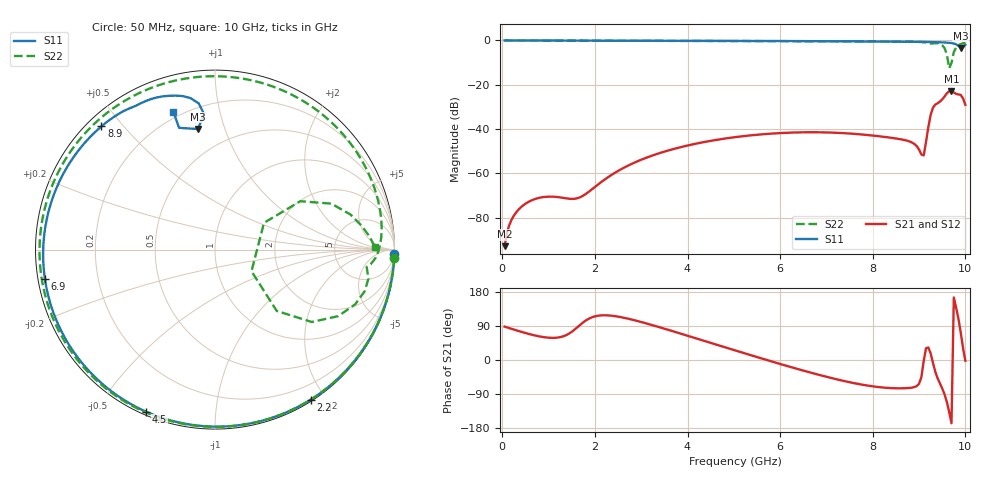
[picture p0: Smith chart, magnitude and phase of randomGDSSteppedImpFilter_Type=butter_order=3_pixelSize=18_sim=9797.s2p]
! freq	dB(S11)	phase(S11)	dB(S12)	phase(S12)
!  dB(S21)	phase(S21)	dB(S22)	phase(S22)
!S-par simulation data
#  GHz  S  DB  R 50
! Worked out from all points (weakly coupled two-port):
!   200 points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, 50 MHz to 10 GHz, reference 50 ohm
!   highest |S21| = -22.83 dB at 9.7 GHz (marker M1); lowest = -92.8 dB at 50 MHz (marker M2)
!   lowest |S11| = -3.4 dB at 9.9 GHz (marker M3), VSWR 5.22, Z = 16.3 + j40.6 ohm
!   |S11| at or under -10 dB: nowhere
!   |S22| runs from -12.5 to 0.0 dB; largest |S21 - S12| = 0
!   S11 on the Smith chart (normalised r, x): 50 MHz: 0, -85; 2.2 GHz: 0.02, -1.82; 4.5 GHz: 0.01, -0.66; 6.9 GHz: 0.02, -0.09; 8.9 GHz: 0.04, +0.44; 10 GHz: 0.17, +0.73
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0.05  -0.00 -1.4  -92.78 88.0  -92.78 88.0  -0.00 -2.7
0.75  -0.03 -20.0  -71.24 63.5  -71.24 63.5  -0.05 -38.8
1.75  -0.06 -46.1  -69.95 99.6  -69.95 99.6  -0.10 -86.4
2.2  -0.07 -57.5  -62.88 118.0  -62.88 118.0  -0.12 -105.9
3.4  -0.11 -87.0  -50.78 86.3  -50.78 86.3  -0.17 -152.8
4.5  -0.16 -113.0  -45.28 45.2  -45.28 45.2  -0.21 168.1
5.05  -0.19 -125.8  -43.55 24.5  -43.55 24.5  -0.23 149.0
5.9  -0.25 -145.7  -41.89 -6.9  -41.89 -6.9  -0.27 119.3
6.7  -0.32 -165.1  -41.40 -34.7  -41.40 -34.7  -0.30 90.9
6.9  -0.34 -170.1  -41.44 -41.2  -41.44 -41.2  -0.31 83.7
8.35  -0.51 150.2  -43.76 -73.9  -43.76 -73.9  -0.38 30.7
8.9  -0.60 132.7  -46.72 -71.4  -46.72 -71.4  -0.55 8.8
9.1  -0.65 125.7  -51.85 -2.5  -51.85 -2.5  -0.82 -0.6
9.25  -0.75 120.3  -33.61 17.4  -33.61 17.4  -1.40 -6.5
9.3  -0.78 118.7  -30.28 -7.7  -30.28 -7.7  -1.36 -7.6
9.45  -0.81 113.0  -27.60 -62.0  -27.60 -62.0  -1.54 -21.4
9.55  -0.90 108.8  -25.27 -90.8  -25.27 -90.8  -3.43 -36.8
9.65  -1.05 104.4  -22.87 -137.3  -22.87 -137.3  -12.52 -30.7
9.7  -1.17 101.9  -22.83 -166.9  -22.83 -166.9  -10.14 28.6
9.75  -1.36 99.2  -23.49 164.9  -23.49 164.9  -5.25 29.6
9.9  -3.37 98.2  -24.57 71.8  -24.57 71.8  -1.63 9.1
10  -1.91 106.8  -29.07 -2.1  -29.07 -2.1  -1.01 1.0
